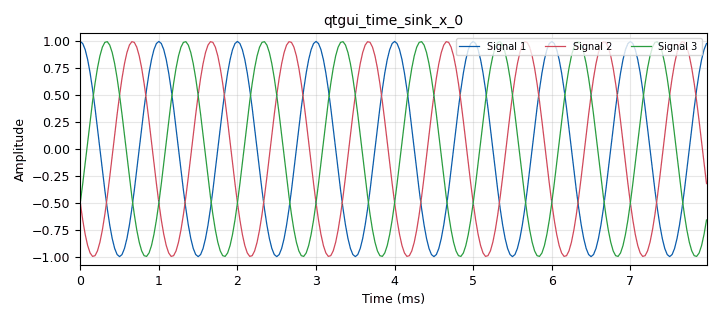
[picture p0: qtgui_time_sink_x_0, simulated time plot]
options:
  parameters:
    author: rcampello
    generate_options: qt_gui
    id: E2B
    output_language: python
    title: E2B
  states: {}

blocks:
- name: f0
  id: variable_qtgui_range
  parameters:
    gui_hint: 0, 0, 1, 2
    orient: Qt.Horizontal
    start: '-5000'
    step: '1'
    stop: '5000'
    value: '1000'
  states: {}
- name: phi1
  id: variable
  parameters:
    value: np.pi * 4 / 6
  states: {}
- name: samp_rate
  id: variable
  parameters:
    value: '32000'
  states: {}
- name: analog_sig_source_x_0
  id: analog_sig_source_x
  parameters:
    amp: '1'
    freq: f0
    offset: '0'
    phase: '0'
    samp_rate: samp_rate
    type: complex
    waveform: analog.GR_COS_WAVE
  states: {}
- name: blocks_complex_to_real_0
  id: blocks_complex_to_real
  parameters: {}
  states: {}
- name: blocks_complex_to_real_0_0
  id: blocks_complex_to_real
  parameters: {}
  states: {}
- name: blocks_complex_to_real_0_0_0
  id: blocks_complex_to_real
  parameters: {}
  states: {}
- name: blocks_multiply_xx_0
  id: blocks_multiply_xx
  parameters:
    type: complex
  states: {}
- name: blocks_multiply_xx_0_0
  id: blocks_multiply_xx
  parameters:
    type: complex
  states: {}
- name: blocks_throttle_0
  id: blocks_throttle
  parameters:
    samples_per_second: samp_rate
    type: complex
  states: {}
- name: blocks_vector_source_x_0
  id: blocks_vector_source_x
  parameters:
    repeat: 'True'
    type: complex
    vector: '[np.exp(1j*phi1)]'
  states: {}
- name: import_0
  id: import
  parameters:
    imports: import numpy as np
  states: {}
- name: qtgui_time_sink_x_0
  id: qtgui_time_sink_x
  parameters:
    gui_hint: 1, 0, 2, 2
    nconnections: '3'
    size: 1024 // 4
    srate: samp_rate
    type: float
  states: {}

connections:
- [analog_sig_source_x_0, '0', blocks_throttle_0, '0']
- [blocks_complex_to_real_0, '0', qtgui_time_sink_x_0, '0']
- [blocks_complex_to_real_0_0, '0', qtgui_time_sink_x_0, '1']
- [blocks_complex_to_real_0_0_0, '0', qtgui_time_sink_x_0, '2']
- [blocks_multiply_xx_0, '0', blocks_complex_to_real_0_0, '0']
- [blocks_multiply_xx_0, '0', blocks_multiply_xx_0_0, '0']
- [blocks_multiply_xx_0_0, '0', blocks_complex_to_real_0_0_0, '0']
- [blocks_throttle_0, '0', blocks_complex_to_real_0, '0']
- [blocks_throttle_0, '0', blocks_multiply_xx_0, '0']
- [blocks_vector_source_x_0, '0', blocks_multiply_xx_0, '1']
- [blocks_vector_source_x_0, '0', blocks_multiply_xx_0_0, '1']

metadata:
  file_format: 1
